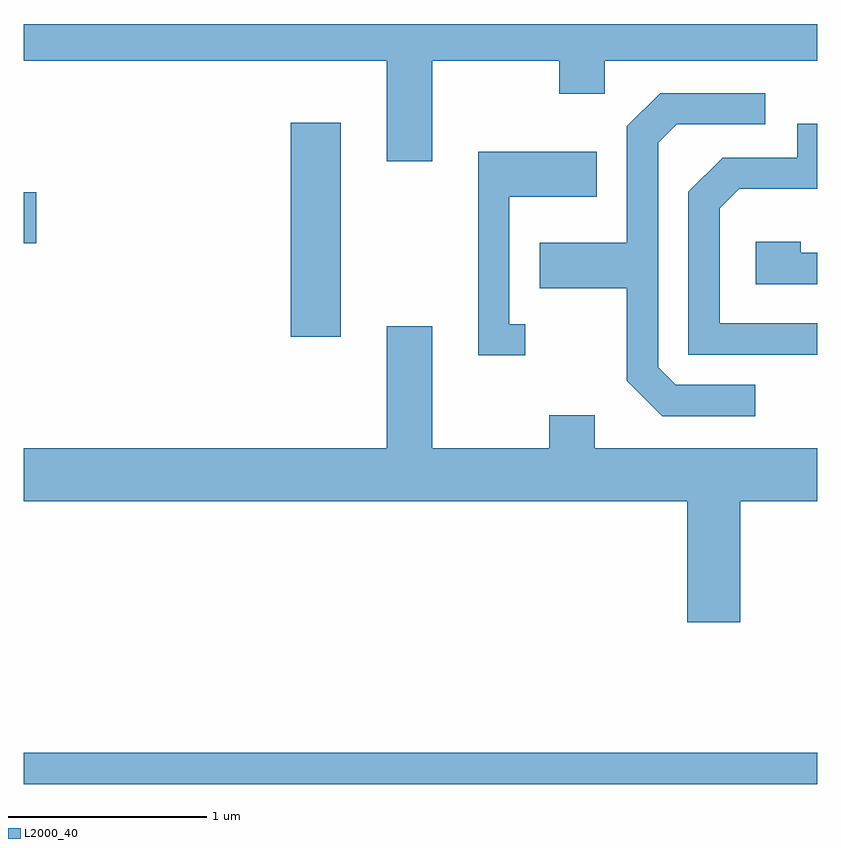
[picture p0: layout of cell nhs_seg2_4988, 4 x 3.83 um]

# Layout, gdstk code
import gdstk
lib = gdstk.Library(unit=1e-6, precision=1e-09)
def R(c, l, rs):  # rectangles x0, y0, x1, y1
    for r in rs: c.add(gdstk.rectangle(r[:2], r[2:], *l))
def P(c, l, *ps):  # polygons
    for p in ps: c.add(gdstk.Polygon(p, *l))
L2000_40 = (2000, 40)

nhs_seg2_4988 = lib.new_cell('nhs_seg2_4988')
R(nhs_seg2_4988, L2000_40, [(331.611,1077.971,335.611,1078.129), (332.956,1080.226,333.209,1081.304), (331.611,1080.696,331.674,1080.954)])
P(nhs_seg2_4988, L2000_40, [(331.611,1081.616),(333.441,1081.616),(333.441,1081.111),(333.669,1081.111),(333.669,1081.616),(334.311,1081.616),(334.311,1081.451),(334.539,1081.451),(334.539,1081.616),(335.611,1081.616),(335.611,1081.802),(331.611,1081.802)],
  [(335.298,1079.984),(334.897,1079.984),(334.809,1080.072),(334.809,1081.204),(334.902,1081.296),(335.348,1081.296),(335.348,1081.454),(334.819,1081.454),(334.651,1081.287),(334.651,1080.699),(334.211,1080.699),(334.211,1080.471),(334.651,1080.471),(334.651,1080.004),(334.829,1079.826),(335.298,1079.826)],
  [(335.611,1080.294),(335.119,1080.294),(335.119,1080.874),(335.217,1080.971),(335.611,1080.971),(335.611,1081.299),(335.511,1081.299),(335.511,1081.129),(335.134,1081.129),(334.961,1080.957),(334.961,1080.136),(335.611,1080.136)],
  [(334.138,1080.289),(334.059,1080.289),(334.059,1080.931),(334.499,1080.931),(334.499,1081.159),(333.901,1081.159),(333.901,1080.131),(334.138,1080.131)],
  [(335.611,1080.649),(335.529,1080.649),(335.529,1080.704),(335.301,1080.704),(335.301,1080.491),(335.611,1080.491)],
  [(335.224,1079.396),(335.611,1079.396),(335.611,1079.664),(334.489,1079.664),(334.489,1079.829),(334.261,1079.829),(334.261,1079.664),(333.669,1079.664),(333.669,1080.279),(333.441,1080.279),(333.441,1079.664),(331.611,1079.664),(331.611,1079.396),(334.956,1079.396),(334.956,1078.786),(335.224,1078.786)])

lib.write_gds('nhs_seg2_4988.gds')
